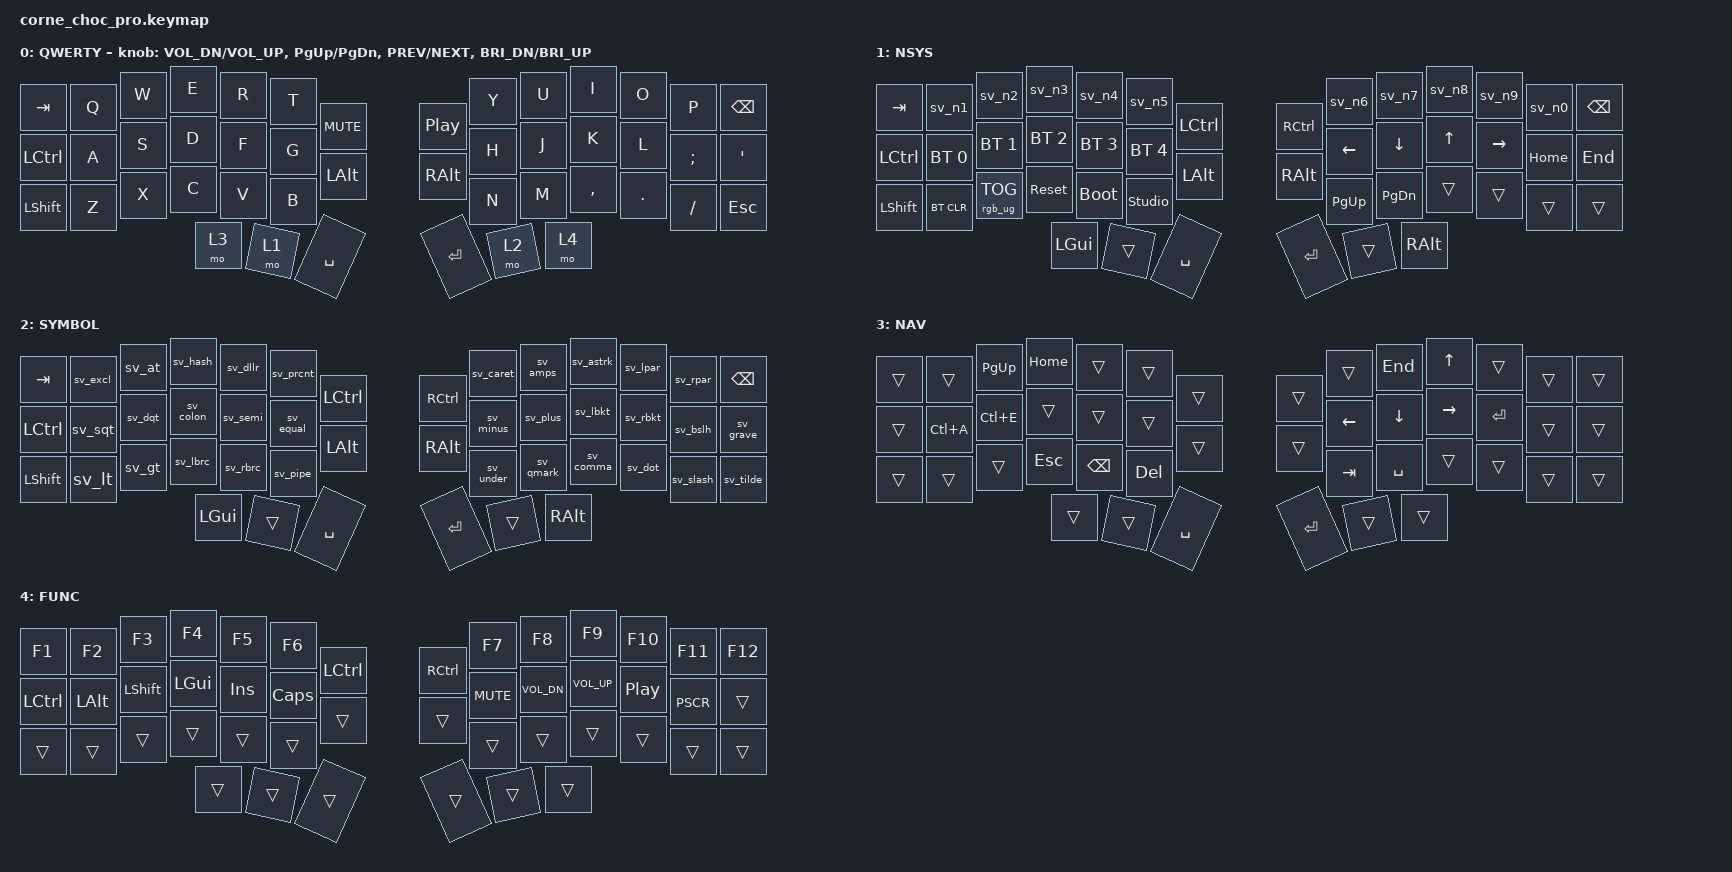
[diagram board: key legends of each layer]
/*
 * Copyright (c) 2020 The ZMK Contributors
 *
 * SPDX-License-Identifier: MIT
 */

#include <behaviors.dtsi>
#include <dt-bindings/zmk/keys.h>
#include <dt-bindings/zmk/bt.h>
#include <dt-bindings/zmk/rgb.h>

/ {
    chosen {
        zmk,physical-layout = &default_layout;
    };
};

/ {
    keymap {
        compatible = "zmk,keymap";

        default_layer {
            display-name = "QWERTY";
            // --------------------------------------------------------------------------------
            // |  TAB |  Q  |  W  |  E  |  R  |  T  |  MUTE |  PP   |  Y  |  U   |  I  |  O  |  P  | BSPC |
            // | CTRL |  A  |  S  |  D  |  F  |  G  |  LALT |  RALT |  H  |  J   |  K  |  L  |  ;  |  '   |
            // | SHFT |  Z  |  X  |  C  |  V  |  B  |               |  N  |  M   |  ,  |  .  |  /  | ESC  |
            //                    | NAV | NUM | SPC |               | ENT | SYM  | FUNC |
            bindings = <
                &kp TAB   &kp Q &kp W &kp E &kp R &kp T &kp C_MUTE &kp C_PP &kp Y &kp U  &kp I     &kp O   &kp P    &kp BSPC
                &kp LCTRL &kp A &kp S &kp D &kp F &kp G &kp LALT   &kp RALT &kp H &kp J  &kp K     &kp L   &kp SEMI &kp SQT
                &kp LSHFT &kp Z &kp X &kp C &kp V &kp B                     &kp N &kp M  &kp COMMA &kp DOT &kp FSLH &kp ESC
                                      &mo 3 &mo 1 &kp SPACE              &kp RET &mo 2 &mo 4
            >;
            sensor-bindings = <&inc_dec_kp C_VOL_DN C_VOL_UP &inc_dec_kp PG_UP PG_DN &inc_dec_kp C_PREV C_NEXT &inc_dec_kp C_BRI_DN C_BRI_UP>;
        };

        lower_layer {
            display-name = "NSYS";
            // -----------------------------------------------------------------------------------------
    
           //  | TAB   |  1   |  2   |  3   |  4   |  5   | LCTRL | RCTRL |  6   |  7   |  8   |  9   |  0   | BSPC |
           //  | CTRL  | BT0  | BT1  | BT2  | BT3  | BT4  | LALT  | RALT  | LEFT | DOWN |  UP  | RIGHT| HOME | END  |
           //  | SHFT  | BTCLR| RGB  | RSET |BOOT  |UNLCK |       |       |PGUP |PGDN  |      |      |      |      |
           //                               | GUI  |      | SPACE|        | RET |      | ALT |
    
            bindings = <
                  &kp TAB    &sv_n1       &sv_n2       &sv_n3      &sv_n4      &sv_n5      &kp LCTRL   &kp RCTRL   &sv_n6     &sv_n7     &sv_n8     &sv_n9     &sv_n0     &kp BSPC
                  &kp LCTRL  &bt BT_SEL 0 &bt BT_SEL 1 &bt BT_SEL 2 &bt BT_SEL 3 &bt BT_SEL 4 &kp LALT    &kp RALT    &kp LEFT   &kp DOWN   &kp UP     &kp RIGHT  &kp HOME   &kp END
                  &kp LSHFT  &bt BT_CLR   &rgb_ug RGB_TOG &sys_reset &bootloader &studio_unlock             &kp PG_UP  &kp PG_DN  &trans     &trans     &trans     &trans
                  &kp LGUI     &trans       &kp SPACE                        &kp RET    &trans     &kp RALT
            >;
        };

        raise_layer {
            display-name = "SYMBOL";
            // -----------------------------------------------------------------------------------------
            // | TAB   |  !   |  @   |  #   |  $   |  %   | LCTRL | RCTRL |  ^   |  &   |  *   |  (   |  )   | BSPC |
            // | CTRL  |  '   |  "   |  :   |  ;   |  =   | LALT  | RALT  |  -   |  +   |  [   |  ]   |  \   |  `   |
            // | SHFT  |  <   |  >   |  {   |  }   |  |   |       |       |  _   |  ?   |  ,   |  .   |  /   |  ~   |
            //                        | GUI  |      | SPACE |            | RET  |      | ALT |
    
            bindings = <
                  &kp TAB    &sv_excl  &sv_at   &sv_hash  &sv_dllr  &sv_prcnt   &kp LCTRL  &kp RCTRL  &sv_caret  &sv_amps  &sv_astrk  &sv_lpar  &sv_rpar  &kp BSPC
                  &kp LCTRL  &sv_sqt   &sv_dqt  &sv_colon &sv_semi  &sv_equal   &kp LALT   &kp RALT   &sv_minus  &sv_plus  &sv_lbkt   &sv_rbkt  &sv_bslh  &sv_grave
                  &kp LSHFT  &sv_lt    &sv_gt   &sv_lbrc  &sv_rbrc  &sv_pipe                         &sv_under  &sv_qmark &sv_comma  &sv_dot   &sv_slash &sv_tilde
                  &kp LGUI  &trans    &kp SPACE                         &kp RET    &trans    &kp RALT
            >;
        };
  
  
       extra_layer_1 {
          display-name = "NAV";
          // |       |       | PGUP | HOME |      |      ||      |      ||      | END  | ↑   |      |      |      |
          // |       | C-A   | C-E  |      |      |      ||      |      || ←    | ↓    | →   | RET  |      |      |
          // |       |       |      | ESC  | BSPC | DEL  ||                || TAB | SPACE |      |      |      |
          // |      |      | SPACE || RET  |      |      |
            
          bindings = <
          &trans &trans   &kp PG_UP   &kp HOME  &trans   &trans   &trans   &trans   &trans   &kp END   &kp UP     &trans   &trans   &trans
          &trans &kp LC(A) &kp LC(E)  &trans    &trans   &trans   &trans   &trans   &kp LEFT  &kp DOWN  &kp RIGHT  &kp RET  &trans   &trans
          &trans &trans   &trans      &kp ESC   &kp BSPC &kp DEL                       &kp TAB  &kp SPACE &trans     &trans   &trans   &trans
          &trans    &trans   &kp SPACE                      &kp RET  &trans   &trans
          >;
       };
  
  
          extra_layer_2 {
          display-name = "FUNC";
  
          // | F1  | F2  | F3  | F4  | F5  | F6  || LCTRL | RCTRL || F7  | F8  | F9  | F10 | F11 | F12 |
          // | CTRL| ALT | SHFT| GUI | INS | CAPS||       |       || MUTE| VOL- | VOL+ | PLAY| PSCR|     |
          // |     |     |     |     |     |     ||                ||      |      |      |     |     |
          // |      |      |      ||       |       |      |
            
          bindings = <
                &kp F1    &kp F2    &kp F3    &kp F4    &kp F5    &kp F6    &kp LCTRL &kp RCTRL &kp F7    &kp F8    &kp F9    &kp F10   &kp F11   &kp F12
                &kp LCTRL &kp LALT  &kp LSHFT &kp LGUI  &kp INS   &kp CAPS  &trans    &trans    &kp MUTE  &kp C_VOL_DN &kp C_VOL_UP &kp C_PP   &kp PSCR  &trans
                &trans    &trans    &trans    &trans    &trans    &trans                       &trans    &trans       &trans        &trans      &trans    &trans
                &trans    &trans    &trans                       &trans    &trans       &trans
          >;
        };
    };
};
